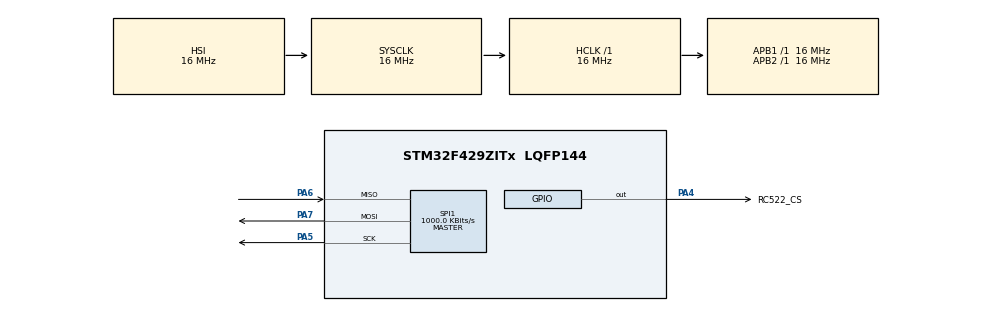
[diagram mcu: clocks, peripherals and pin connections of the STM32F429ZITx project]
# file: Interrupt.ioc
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Dma.Request0=SPI1_RX
Dma.Request1=SPI1_TX
Dma.SPI1_RX.0.Direction=DMA_PERIPH_TO_MEMORY
Dma.SPI1_RX.0.FIFOMode=DMA_FIFOMODE_DISABLE
Dma.SPI1_RX.0.Instance=DMA2_Stream0
Dma.SPI1_RX.0.MemDataAlignment=DMA_MDATAALIGN_BYTE
Dma.SPI1_RX.0.MemInc=DMA_MINC_ENABLE
Dma.SPI1_RX.0.Mode=DMA_NORMAL
Dma.SPI1_RX.0.PeriphDataAlignment=DMA_PDATAALIGN_BYTE
Dma.SPI1_RX.0.PeriphInc=DMA_PINC_DISABLE
Dma.SPI1_RX.0.Priority=DMA_PRIORITY_LOW
Dma.SPI1_TX.1.Direction=DMA_MEMORY_TO_PERIPH
Dma.SPI1_TX.1.FIFOMode=DMA_FIFOMODE_DISABLE
Dma.SPI1_TX.1.Instance=DMA2_Stream3
Dma.SPI1_TX.1.MemDataAlignment=DMA_MDATAALIGN_BYTE
Dma.SPI1_TX.1.MemInc=DMA_MINC_ENABLE
Dma.SPI1_TX.1.Mode=DMA_NORMAL
Dma.SPI1_TX.1.PeriphDataAlignment=DMA_PDATAALIGN_BYTE
Dma.SPI1_TX.1.PeriphInc=DMA_PINC_DISABLE
Dma.SPI1_TX.1.Priority=DMA_PRIORITY_LOW
Mcu.Family=STM32F4
Mcu.Name=STM32F429ZITx
Mcu.Package=LQFP144
NVIC.DMA2_Stream0_IRQn=true\:0\:0\:false\:false\:true\:false\:true\:true
NVIC.DMA2_Stream3_IRQn=true\:0\:0\:false\:false\:true\:false\:true\:true
NVIC.PriorityGroup=NVIC_PRIORITYGROUP_0
PA13.Mode=Serial_Wire
PA13.Signal=SYS_JTMS-SWDIO
PA14.Mode=Serial_Wire
PA14.Signal=SYS_JTCK-SWCLK
PA4.GPIO_Label=RC522_CS
PA4.Signal=GPIO_Output
PA5.Mode=Full_Duplex_Master
PA5.Signal=SPI1_SCK
PA6.Mode=Full_Duplex_Master
PA6.Signal=SPI1_MISO
PA7.Mode=Full_Duplex_Master
PA7.Signal=SPI1_MOSI
ProjectManager.HeapSize=0x200
ProjectManager.StackSize=0x400
ProjectManager.TargetToolchain=STM32CubeIDE
RCC.48MHZClocksFreq_Value=18285714.285714287
RCC.AHBFreq_Value=16000000
RCC.APB1Freq_Value=16000000
RCC.APB1TimFreq_Value=16000000
RCC.APB2Freq_Value=16000000
RCC.APB2TimFreq_Value=16000000
RCC.CortexFreq_Value=16000000
RCC.HCLKFreq_Value=16000000
RCC.HSE_VALUE=8000000
RCC.HSI_VALUE=16000000
RCC.LSE_VALUE=32768
RCC.PLLM=8
RCC.PLLN=64
RCC.PLLQ=7
RCC.SYSCLKFreq_VALUE=16000000
RCC.VCOOutputFreq_Value=128000000
SPI1.BaudRatePrescaler=SPI_BAUDRATEPRESCALER_16
SPI1.CalculateBaudRate=1000.0 KBits/s
SPI1.Direction=SPI_DIRECTION_2LINES
SPI1.Mode=SPI_MODE_MASTER
SPI1.VirtualType=VM_MASTER
board=STM32F429I-DISC1

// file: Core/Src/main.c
/* USER CODE BEGIN Header */
/**
 ******************************************************************************
 * @file           : main.c
 * @brief          : Main program body
 ******************************************************************************
 * @attention
 *
 * Copyright (c) 2025 STMicroelectronics.
 * All rights reserved.
 *
 * This software is licensed under terms that can be found in the LICENSE file
 * in the root directory of this software component.
 * If no LICENSE file comes with this software, it is provided AS-IS.
 *
 ******************************************************************************
 */
/* USER CODE END Header */
#include "main.h"

/* USER CODE BEGIN Includes */
#include "MFRC522.h"
/* USER CODE END Includes */

SPI_HandleTypeDef hspi1;
DMA_HandleTypeDef hdma_spi1_rx;
DMA_HandleTypeDef hdma_spi1_tx;

/* USER CODE BEGIN PV */
static uint8_t flag = 0;
/* USER CODE END PV */

void SystemClock_Config(void);
static void MX_GPIO_Init(void);
static void MX_DMA_Init(void);
static void MX_SPI1_Init(void);
/* USER CODE BEGIN PFP */
void Interrupt_Init(void);
void SPI1_Init(void);
void transfer_data(void);
void NSS_pinLow(void);
void NSS_pinHigh(void);
void Delay(void);
void SPI1_IRQHandler(void);
/* USER CODE END PFP */

/* USER CODE BEGIN 0 */
uint8_t value = 0;
char str1[17]={'\0'};
char str2[17]={'\0'};
char str3[17]={'\0'};
char str4[17]={'\0'};
char tmp_str[65]={'\0'};

uint8_t status, cardstr[MAX_LEN+1];
uint8_t card_data[17];
uint32_t delay_val = 1000; //ms
uint16_t result = 0;
uint8_t UID[5];
// a private key to scramble data writing/reading to/from RFID card:
uint8_t Mx1[7][5]={{0x12,0x45,0xF2,0xA8},{0xB2,0x6C,0x39,0x83},{0x55,0xE5,0xDA,0x18},
		  	  	  	{0x1F,0x09,0xCA,0x75},{0x99,0xA2,0x50,0xEC},{0x2C,0x88,0x7F,0x3D}};
uint8_t SectorKey[7];
/* USER CODE END 0 */

int main(void)
{

  /* MCU Configuration--------------------------------------------------------*/

  /* Reset of all peripherals, Initializes the Flash interface and the Systick. */
  HAL_Init();

  /* Configure the system clock */
  SystemClock_Config();

  /* USER CODE BEGIN SysInit */
	Interrupt_Init();
	SPI1_Init();
  /* USER CODE END SysInit */

  /* Initialize all configured peripherals */
  MX_GPIO_Init();
  MX_DMA_Init();
  MX_SPI1_Init();

  /* Infinite loop */
	while (1) {

    /* USER CODE BEGIN 3 */
	  	  for (int i = 0; i < 16; i++)
	  	  {
	  		  cardstr[i] = 0;
	  	  }
	  	  status = 0;
	  	  // Find cards
	  	  status = MFRC522_Request(PICC_REQIDL, cardstr);
	  	  if(status == MI_OK)
	  	  {
	  		  // Anti-collision, return card serial number == 4 bytes
	  		  HAL_Delay(1);
	  		  status = MFRC522_Anticoll(cardstr);
	  		  if(status == MI_OK)
	  		  {
	  			  UID[0] = cardstr[0];
	  			  UID[1] = cardstr[1];
	  			  UID[2] = cardstr[2];
	  			  UID[3] = cardstr[3];
	  			  UID[4] = cardstr[4];
	  		  }
			MFRC522_Halt();
			HAL_Delay(1000);
	  	  }
	  	  else{
	  		  //Waiting For Card
	  		  HAL_Delay(1);
	  	  }
	  }
//		transfer_data();
  /* USER CODE END 3 */
}

void SystemClock_Config(void)
{
  RCC_OscInitTypeDef RCC_OscInitStruct = {0};
  RCC_ClkInitTypeDef RCC_ClkInitStruct = {0};

  /** Configure the main internal regulator output voltage
  */
  __HAL_RCC_PWR_CLK_ENABLE();
  __HAL_PWR_VOLTAGESCALING_CONFIG(PWR_REGULATOR_VOLTAGE_SCALE3);

  /** Initializes the RCC Oscillators according to the specified parameters
  * in the RCC_OscInitTypeDef structure.
  */
  RCC_OscInitStruct.OscillatorType = RCC_OSCILLATORTYPE_HSI;
  RCC_OscInitStruct.HSIState = RCC_HSI_ON;
  RCC_OscInitStruct.HSICalibrationValue = RCC_HSICALIBRATION_DEFAULT;
  RCC_OscInitStruct.PLL.PLLState = RCC_PLL_NONE;
  if (HAL_RCC_OscConfig(&RCC_OscInitStruct) != HAL_OK)
  {
    Error_Handler();
  }

  /** Initializes the CPU, AHB and APB buses clocks
  */
  RCC_ClkInitStruct.ClockType = RCC_CLOCKTYPE_HCLK|RCC_CLOCKTYPE_SYSCLK
                              |RCC_CLOCKTYPE_PCLK1|RCC_CLOCKTYPE_PCLK2;
  RCC_ClkInitStruct.SYSCLKSource = RCC_SYSCLKSOURCE_HSI;
  RCC_ClkInitStruct.AHBCLKDivider = RCC_SYSCLK_DIV1;
  RCC_ClkInitStruct.APB1CLKDivider = RCC_HCLK_DIV1;
  RCC_ClkInitStruct.APB2CLKDivider = RCC_HCLK_DIV1;

  if (HAL_RCC_ClockConfig(&RCC_ClkInitStruct, FLASH_LATENCY_0) != HAL_OK)
  {
    Error_Handler();
  }
}

static void MX_SPI1_Init(void)
{

  /* SPI1 parameter configuration*/
  hspi1.Instance = SPI1;
  hspi1.Init.Mode = SPI_MODE_MASTER;
  hspi1.Init.Direction = SPI_DIRECTION_2LINES;
  hspi1.Init.DataSize = SPI_DATASIZE_8BIT;
  hspi1.Init.CLKPolarity = SPI_POLARITY_LOW;
  hspi1.Init.CLKPhase = SPI_PHASE_1EDGE;
  hspi1.Init.NSS = SPI_NSS_SOFT;
  hspi1.Init.BaudRatePrescaler = SPI_BAUDRATEPRESCALER_16;
  hspi1.Init.FirstBit = SPI_FIRSTBIT_MSB;
  hspi1.Init.TIMode = SPI_TIMODE_DISABLE;
  hspi1.Init.CRCCalculation = SPI_CRCCALCULATION_DISABLE;
  hspi1.Init.CRCPolynomial = 10;
  if (HAL_SPI_Init(&hspi1) != HAL_OK)
  {
    Error_Handler();
  }

}

static void MX_DMA_Init(void)
{

  /* DMA controller clock enable */
  __HAL_RCC_DMA2_CLK_ENABLE();

  /* DMA interrupt init */
  /* DMA2_Stream0_IRQn interrupt configuration */
  HAL_NVIC_SetPriority(DMA2_Stream0_IRQn, 0, 0);
  HAL_NVIC_EnableIRQ(DMA2_Stream0_IRQn);
  /* DMA2_Stream3_IRQn interrupt configuration */
  HAL_NVIC_SetPriority(DMA2_Stream3_IRQn, 0, 0);
  HAL_NVIC_EnableIRQ(DMA2_Stream3_IRQn);

}

static void MX_GPIO_Init(void)
{
  GPIO_InitTypeDef GPIO_InitStruct = {0};

  /* GPIO Ports Clock Enable */
  __HAL_RCC_GPIOA_CLK_ENABLE();

  /*Configure GPIO pin Output Level */
  HAL_GPIO_WritePin(RC522_CS_GPIO_Port, RC522_CS_Pin, GPIO_PIN_RESET);

  /*Configure GPIO pin : RC522_CS_Pin */
  GPIO_InitStruct.Pin = RC522_CS_Pin;
  GPIO_InitStruct.Mode = GPIO_MODE_OUTPUT_PP;
  GPIO_InitStruct.Pull = GPIO_NOPULL;
  GPIO_InitStruct.Speed = GPIO_SPEED_FREQ_LOW;
  HAL_GPIO_Init(RC522_CS_GPIO_Port, &GPIO_InitStruct);

}

/* USER CODE BEGIN 4 */
void Interrupt_Init(void) {
	RCC->AHB1ENR |= (1U << 0);
	GPIOA->MODER &= ~(3U << 0);

	RCC->APB2ENR |= (1U << 14);
	SYSCFG->EXTICR[0] &= ~(15U << 0);

	EXTI->IMR |= (1U << 0);
	EXTI->RTSR |= (1U << 0);
	EXTI->FTSR |= (1U << 0);

	NVIC->ISER[0] = (1U << 6);

	NVIC->ISER[1] = (1U << 4);

}

void EXTI0_IRQHandler(void) {
	if ((EXTI->PR & (1U << 0)) && (GPIOA->IDR & (1U << 0))) {
		flag = 1;
	} else if ((EXTI->PR & (1U << 0)) && !(GPIOA->IDR & (1U << 0))) {
		flag = 0;
	}
	EXTI->PR = (1U << 0);
}

void SPI1_Init(void) {
	RCC->APB2ENR |= (1U << 12);
	RCC->AHB1ENR |= (1U << 0);

	// GPIO config
	GPIOA->MODER &= ~(3U << 8);
	GPIOA->MODER |= (1U << 8);
//	GPIOA->MODER |= (2U << 8);

	GPIOA->MODER |= (2U << 10);  // PA5
	GPIOA->MODER |= (2U << 12);	// PA6
	GPIOA->MODER |= (2U << 14);	// PA7

//	GPIOA->AFR[0] |= (5U << 16);
	GPIOA->ODR |= (1U << 4);	// PA4 as NSS
	GPIOA->AFR[0] |= (5U << 20);
	GPIOA->AFR[0] |= (5U << 24);
	GPIOA->AFR[0] |= (5U << 28);

	SPI1->CR1 &= ~(1U << 11); // data format 8-bit

	SPI1->CR1 |= (3U << 3);		// Baud rate
	SPI1->CR1 |= (1U << 2);		//Master
	SPI1->CR1 &= ~(3U << 0);	// Mode 0
	SPI1->CR1 &= ~(3U << 8); 	// Clearing the 8th and 9th bit
	SPI1->CR1 |= (1U << 9);
	SPI1->CR1 |= (1U << 8);

	SPI1->CR2 |= (1U << 7);  // TXEIE
//	SPI1->CR1 &= ~(1U << 8);

	SPI1->CR1 |= (1U << 6);
}

void transfer_data(void) {
	NSS_pinLow();// When configured as AF this has no effect simply the ss is enabled
	for (int i = 0; i < 16; i++) {
		while (!(SPI1->SR & (1U << 1))) {

		}
		SPI1->DR = i;
		while (!(SPI1->SR & (1U << 7))) {
		}

		Delay();
	}
	NSS_pinHigh();
}

void NSS_pinLow(void) {
	GPIOA->ODR &= ~(1U << 4);
}

void NSS_pinHigh(void) {
	GPIOA->ODR |= (1U << 4);
}

void Delay(void) {

	for (int i = 0; i < 1000; i++) {
		__asm__("nop");
		//send this for delay;
	}
}

void SPI1_IRQHandler(void)
{
	static int i = 0;
	NSS_pinLow();// When configured as AF this has no effect simply the ss is enabled
//	for (int i = 0; i < 100; i++) {
//
//		SPI1->DR = i;
//	}
	SPI1->DR = i;
	i++;

	if(i >= 1000)
	{
		i = 0;
	}
	NSS_pinHigh();
	EXTI->PR = (1U << 7);
//	SPI1->CR1 &= ~(1U << 6);
}

HAL_StatusTypeDef SPI_Transmit(const uint8_t *pData, uint16_t Size)
{
	HAL_StatusTypeDef status;
	HAL_SPI_Transmit_DMA(&hspi1, pData, Size);

	return status;
}

HAL_StatusTypeDef SPI_Receive(uint8_t *pData, uint16_t Size)
{
	HAL_SPI_Receive_DMA(&hspi1, pData, Size);
}
/* USER CODE END 4 */

void Error_Handler(void)
{
	__disable_irq();
	while (1) {
	}
}
